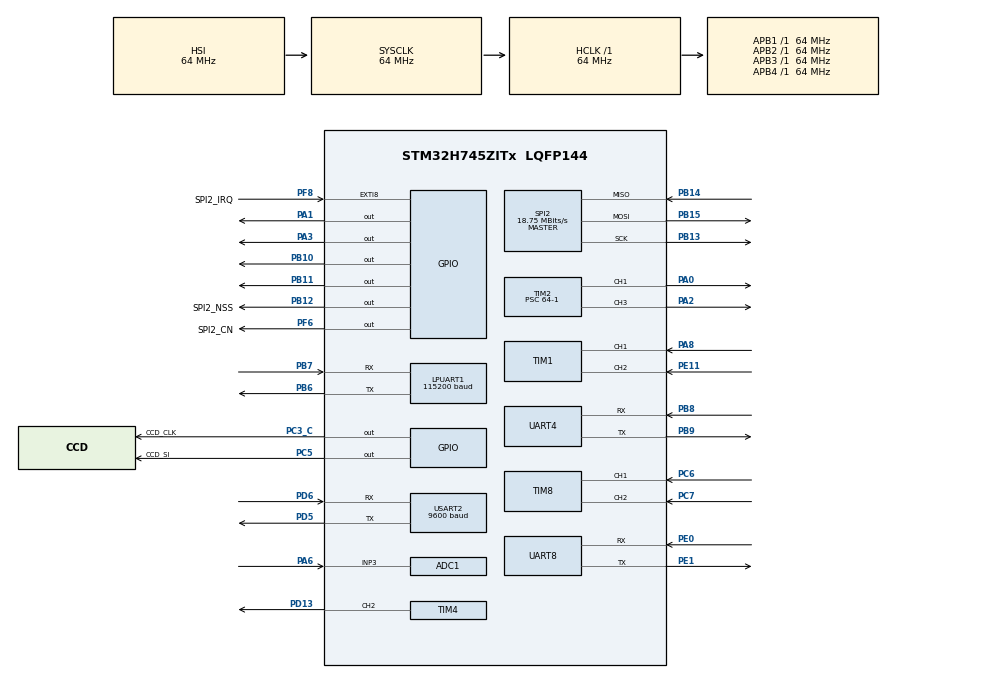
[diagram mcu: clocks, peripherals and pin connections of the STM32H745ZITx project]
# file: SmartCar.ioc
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ADC1.Channel-0\#ChannelRegularConversion=ADC_CHANNEL_3
ADC1.ClockPrescaler=ADC_CLOCK_ASYNC_DIV2
ADC1.ContinuousConvMode=ENABLE
ADC1.NbrOfConversion=1
ADC1.NbrOfConversionFlag=1
ADC1.OffsetNumber-0\#ChannelRegularConversion=ADC_OFFSET_NONE
ADC1.OffsetSignedSaturation-0\#ChannelRegularConversion=DISABLE
ADC1.Overrun=ADC_OVR_DATA_OVERWRITTEN
ADC1.Rank-0\#ChannelRegularConversion=1
ADC1.Resolution=ADC_RESOLUTION_12B
ADC1.SamplingTime-0\#ChannelRegularConversion=ADC_SAMPLETIME_8CYCLES_5
ADC1.master=1
CORTEX_M7.CPU_DCache=Enabled
CORTEX_M7.CPU_ICache=Enabled
CORTEX_M7.DisableExec-Cortex_Memory_Protection_Unit_Region0_Settings=MPU_INSTRUCTION_ACCESS_DISABLE
CORTEX_M7.Enable-Cortex_Memory_Protection_Unit_Region0_Settings=MPU_REGION_ENABLE
CORTEX_M7.IsShareable-Cortex_Memory_Protection_Unit_Region0_Settings=MPU_ACCESS_SHAREABLE
CORTEX_M7.MPU_Control=MPU_PRIVILEGED_DEFAULT
CORTEX_M7.Size-Cortex_Memory_Protection_Unit_Region0_Settings=MPU_REGION_SIZE_4GB
CORTEX_M7.SubRegionDisable-Cortex_Memory_Protection_Unit_Region0_Settings=0x87
CortexM4.IPs=BDMA,CORTEX_M4\:I,DEBUG,DMA,FATFS_M4\:I,FREERTOS_M4\:I,GPIO,IWDG2\:I,MDMA,NVIC2\:I,OPENAMP_M4\:I,PDM2PCM_M4\:I,PWR,RCC,RESMGR_UTILITY,SYS_M4\:I,USB_DEVICE_M4\:I,USB_HOST_M4\:I,VREFBUF,WWDG2\:I
CortexM7.IPs=BDMA\:I,CORTEX_M7\:I,DEBUG\:I,DMA\:I,FATFS_M7\:I,FREERTOS_M7\:I,GPIO\:I,IWDG1\:I,MDMA\:I,NVIC1\:I,OPENAMP_M7\:I,PDM2PCM_M7\:I,PWR\:I,RCC\:I,RESMGR_UTILITY\:I,SYS\:I,USB_DEVICE_M7\:I,USB_HOST_M7\:I,VREFBUF\:I,WWDG1\:I,TIM2\:I,TIM1\:I,USART2\:I,ADC1\:I,TIM3\:I,TIM4\:I,TIM8\:I,TIM5\:I,LPUART1\:I,SPI2\:I,UART4\:I,UART8\:I
CortexM7.Pins=PF6,PF8,PC3_C,PA1,PA3,PC5,PB10,PB11,PB12
LPUART1.BaudRate=115200
Mcu.Family=STM32H7
Mcu.Name=STM32H745ZITx
Mcu.Package=LQFP144
NVIC1.EXTI9_5_IRQn=true\:0\:0\:false\:false\:true\:true\:true\:true
NVIC1.LPUART1_IRQn=true\:0\:0\:false\:false\:true\:true\:true\:true
NVIC1.PriorityGroup=NVIC_PRIORITYGROUP_4
NVIC1.TIM5_IRQn=true\:0\:0\:false\:false\:true\:true\:true\:true
NVIC1.UART4_IRQn=true\:0\:0\:false\:false\:true\:true\:true\:true
NVIC1.USART2_IRQn=true\:0\:0\:false\:false\:true\:true\:true\:true
NVIC2.PriorityGroup=NVIC_PRIORITYGROUP_4
PA0.PinAttribute=CortexM7
PA0.Signal=S_TIM2_CH1_ETR
PA1.GPIO_ModeDefaultOutputPP=GPIO_MODE_OUTPUT_PP
PA1.GPIO_Speed=GPIO_SPEED_FREQ_LOW
PA1.PinAttribute=CortexM7
PA1.PinState=GPIO_PIN_RESET
PA1.Signal=GPIO_Output
PA2.PinAttribute=CortexM7
PA2.Signal=S_TIM2_CH3
PA3.GPIO_ModeDefaultOutputPP=GPIO_MODE_OUTPUT_PP
PA3.GPIO_Speed=GPIO_SPEED_FREQ_LOW
PA3.PinAttribute=CortexM7
PA3.PinState=GPIO_PIN_RESET
PA3.Signal=GPIO_Output
PA6.GPIO_PuPd=GPIO_NOPULL
PA6.PinAttribute=CortexM7
PA6.Signal=ADCx_INP3
PA8.GPIO_Speed=GPIO_SPEED_FREQ_HIGH
PA8.PinAttribute=CortexM7
PA8.Signal=S_TIM1_CH1
PB10.GPIO_Speed=GPIO_SPEED_FREQ_HIGH
PB10.PinAttribute=CortexM7
PB10.PinState=GPIO_PIN_SET
PB10.Signal=GPIO_Output
PB11.GPIO_Speed=GPIO_SPEED_FREQ_HIGH
PB11.PinAttribute=CortexM7
PB11.PinState=GPIO_PIN_SET
PB11.Signal=GPIO_Output
PB12.GPIO_Label=SPI2_NSS
PB12.GPIO_ModeDefaultOutputPP=GPIO_MODE_OUTPUT_PP
PB12.GPIO_PuPd=GPIO_PULLUP
PB12.GPIO_Speed=GPIO_SPEED_FREQ_HIGH
PB12.PinAttribute=CortexM7
PB12.PinState=GPIO_PIN_SET
PB12.Signal=GPIO_Output
PB13.Mode=Full_Duplex_Master
PB13.PinAttribute=CortexM7
PB13.Signal=SPI2_SCK
PB14.Mode=Full_Duplex_Master
PB14.PinAttribute=CortexM7
PB14.Signal=SPI2_MISO
PB15.Mode=Full_Duplex_Master
PB15.PinAttribute=CortexM7
PB15.Signal=SPI2_MOSI
PB6.Mode=Asynchronous
PB6.PinAttribute=CortexM7
PB6.Signal=LPUART1_TX
PB7.Mode=Asynchronous
PB7.PinAttribute=CortexM7
PB7.Signal=LPUART1_RX
PB8.Mode=Asynchronous
PB8.PinAttribute=CortexM7
PB8.Signal=UART4_RX
PB9.Mode=Asynchronous
PB9.PinAttribute=CortexM7
PB9.Signal=UART4_TX
PC3_C.GPIO_Label=CCD_CLK
PC3_C.GPIO_ModeDefaultOutputPP=GPIO_MODE_OUTPUT_PP
PC3_C.GPIO_PuPd=GPIO_PULLUP
PC3_C.GPIO_Speed=GPIO_SPEED_FREQ_LOW
PC3_C.PinAttribute=CortexM7
PC3_C.PinState=GPIO_PIN_RESET
PC3_C.Signal=GPIO_Output
PC5.GPIO_Label=CCD_SI
PC5.GPIO_PuPd=GPIO_PULLUP
PC5.GPIO_Speed=GPIO_SPEED_FREQ_LOW
PC5.PinAttribute=CortexM7
PC5.PinState=GPIO_PIN_RESET
PC5.Signal=GPIO_Output
PC6.PinAttribute=CortexM7
PC6.Signal=S_TIM8_CH1
PC7.PinAttribute=CortexM7
PC7.Signal=S_TIM8_CH2
PD13.PinAttribute=CortexM7
PD13.Signal=S_TIM4_CH2
PD5.Mode=Asynchronous
PD5.PinAttribute=CortexM7
PD5.Signal=USART2_TX
PD6.Mode=Asynchronous
PD6.PinAttribute=CortexM7
PD6.Signal=USART2_RX
PE0.Mode=Asynchronous
PE0.PinAttribute=CortexM7
PE0.Signal=UART8_RX
PE1.Mode=Asynchronous
PE1.PinAttribute=CortexM7
PE1.Signal=UART8_TX
PE11.GPIO_Speed=GPIO_SPEED_FREQ_HIGH
PE11.PinAttribute=CortexM7
PE11.Signal=S_TIM1_CH2
PF6.GPIO_Label=SPI2_CN
PF6.GPIO_ModeDefaultOutputPP=GPIO_MODE_OUTPUT_PP
PF6.GPIO_PuPd=GPIO_PULLUP
PF6.GPIO_Speed=GPIO_SPEED_FREQ_HIGH
PF6.PinAttribute=CortexM7
PF6.PinState=GPIO_PIN_SET
PF6.Signal=GPIO_Output
PF8.GPIO_Label=SPI2_IRQ
PF8.GPIO_ModeDefaultEXTI=GPIO_MODE_IT_FALLING
PF8.GPIO_PuPd=GPIO_PULLUP
PF8.PinAttribute=CortexM7
PF8.Signal=GPXTI8
ProjectManager.HeapSize=M4-0x200,M7-0x200
ProjectManager.StackSize=M4-0x400,M7-0x400
ProjectManager.TargetToolchain=STM32CubeIDE
RCC.ADCFreq_Value=13333333.333333334
RCC.APB1Freq_Value=64000000
RCC.APB2Freq_Value=64000000
RCC.APB3Freq_Value=64000000
RCC.APB4Freq_Value=64000000
RCC.CSICalibrationValue=32
RCC.CortexFreq_Value=64000000
RCC.DIVM1=4
RCC.DIVM2=4
RCC.DIVN1=9
RCC.DIVN2=10
RCC.DIVP2=12
RCC.DIVQ1=1
RCC.HCLKFreq_Value=64000000
RCC.HSE_VALUE=25000000
RCC.HSICalibrationValue=64
RCC.PLL2FRACN=0
RCC.PLL3FRACN=0
RCC.PLL3_VCI_Range-AdvancedSettings=RCC_PLL3VCIRANGE_0
RCC.PLLFRACN=3072
RCC.PWR_Regulator_Voltage_Scale=PWR_REGULATOR_VOLTAGE_SCALE1
RCC.SYSCLKFreq_VALUE=64000000
RCC.USBFreq_Value=150000000
SH.ADCx_INP3.0=ADC1_INP3,IN3-Single-Ended
SH.S_TIM1_CH1.0=TIM1_CH1,Encoder_Interface
SH.S_TIM1_CH2.0=TIM1_CH2,Encoder_Interface
SH.S_TIM2_CH1_ETR.0=TIM2_CH1,PWM Generation1 CH1
SH.S_TIM2_CH3.0=TIM2_CH3,PWM Generation3 CH3
SH.S_TIM4_CH2.0=TIM4_CH2,PWM Generation2 CH2
SH.S_TIM8_CH1.0=TIM8_CH1,Encoder_Interface
SH.S_TIM8_CH2.0=TIM8_CH2,Encoder_Interface
SPI2.BaudRatePrescaler=SPI_BAUDRATEPRESCALER_8
SPI2.CRCCalculation=SPI_CRCCALCULATION_ENABLE
SPI2.CalculateBaudRate=18.75 MBits/s
SPI2.DataSize=SPI_DATASIZE_8BIT
SPI2.Direction=SPI_DIRECTION_2LINES
SPI2.Mode=SPI_MODE_MASTER
SPI2.VirtualType=VM_MASTER
SYS.userName=SYS_M7
TIM1.ClockDivision=TIM_CLOCKDIVISION_DIV1
TIM1.EncoderMode=TIM_ENCODERMODE_TI12
TIM1.IC1Filter=15
TIM1.IC2Filter=15
TIM2.AutoReloadPreload=TIM_AUTORELOAD_PRELOAD_ENABLE
TIM2.Channel-PWM\ Generation1\ CH1=TIM_CHANNEL_1
TIM2.Channel-PWM\ Generation3\ CH3=TIM_CHANNEL_3
TIM2.OC1Preload_PWM=DISABLE
TIM2.OC3Preload_PWM=DISABLE
TIM2.Period=10000-1
TIM2.Prescaler=64-1
TIM2.Pulse-PWM\ Generation1\ CH1=750
TIM2.Pulse-PWM\ Generation3\ CH3=750
TIM4.Channel-PWM\ Generation2\ CH2=TIM_CHANNEL_2
TIM4.Period=10000-1
TIM4.Prescaler=128-1
TIM4.Pulse-PWM\ Generation2\ CH2=750
TIM5.Period=500-1
TIM5.Prescaler=128-1
TIM8.EncoderMode=TIM_ENCODERMODE_TI12
TIM8.IC1Filter=15
TIM8.IC2Filter=15
USART2.BaudRate=9600
USART2.VirtualMode-Asynchronous=VM_ASYNC
VP_SYS_M4_VS_Systick.Mode=SysTick
VP_TIM2_VS_ClockSourceINT.Mode=Internal
VP_TIM4_VS_ClockSourceINT.Mode=Internal
VP_TIM5_VS_ClockSourceINT.Mode=Internal
board=custom

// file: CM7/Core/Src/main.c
/* USER CODE BEGIN Header */
/**
  ******************************************************************************
  * @file           : main.c
  * @brief          : Main program body
  ******************************************************************************
  * @attention
  *
  * Copyright (c) 2025 STMicroelectronics.
  * All rights reserved.
  *
  * This software is licensed under terms that can be found in the LICENSE file
  * in the root directory of this software component.
  * If no LICENSE file comes with this software, it is provided AS-IS.
  *
  ******************************************************************************
  */
/* USER CODE END Header */
#include "main.h"
#include "adc.h"
#include "usart.h"
#include "spi.h"
#include "tim.h"
#include "gpio.h"

/* USER CODE BEGIN Includes */
#include "DC.h"
#include "Velocity_PID.h"
#include "Angle_PID.h"
#include "dwt_delay.h"
#include "string.h"
#include "stdio.h"
#include "stdlib.h"
//#include "CCD.h"
/* USER CODE END Includes */

/* USER CODE BEGIN PD */

#ifndef HSEM_ID_0
#define HSEM_ID_0 (0U) /* HW semaphore 0*/
#endif

/* USER CODE END PD */

/* USER CODE BEGIN PM */
#define MAX_LEN 20
/* USER CODE END PM */

/* USER CODE BEGIN PV */
enum Place {start,pharmacy,ward,cross1,cross2};
enum Place place = pharmacy;
int ActionLog[20] = {}; // 0代表前进, 1代表左转, -1代表右转
int ActionLogTop = -1;
uint8_t actionLock = 0;
float v_BL;//左后轮�?�度 cm/s
float v_BR;//右后轮�?�度 cm/s
float v_C;//车整体�?�度 cm/s
float TotalDistance;//小车从某时刻�?????????????????????????????始的总距�????????????????????????????? cm
uint16_t T_velocity=20;//测�?�周�?????????????????????????????(PID调控周期)，单位：ms
uint16_t T_location=100;
uint8_t distance_flag=0;//�?????????????????????????????始累积距离标�?????????????????????????????
uint8_t MoveFlag=0;
uint8_t toWard = 1;
uint8_t cross_detected = 0;
uint8_t block_detected = 0;
uint8_t medicine_detected = 0;
uint16_t regularVelocity = 20;
uint32_t toBlockTime = 4000000;
uint32_t toCrossTime = 6000000;
char target = ' ';
char Dir='n';//方向
char Pos='S';//位置
char action[20] = "stop";
char digitDetected[20]= "";
extern Angle_PID_Struct Angle_PID;//转向pid结构�?????????????????????
extern BL_Velocity_PID_Struct BL_Velocity_PID;
extern BR_Velocity_PID_Struct BR_Velocity_PID;

//电机测试
uint8_t VelocityMeasureFlag=0;
//计时�?????????????????????????
uint32_t Cnt_1ms=0;

//串口�???????????????????????
//Touch Pannel communication define
uint8_t StartSTR[3]={0xff,0xff,0xff};
uint8_t EndSTR[3]={0xff,0xff,0xff};
uint8_t HeaderTxBuffer1[] = "cls BLACK";   //清屏命令
uint8_t HeaderTxBuffer2[] = "page cube_aigc";  //跳转页面命令
uint8_t HeaderTxBuffer3[] = "n0.val=";         //变量赋�?�命�???????????????????????
uint8_t HeaderTxBuffer4[20];  //white line
uint8_t HeaderTxBuffer5[] = "add 1,2,";     //real time data
uint8_t HeaderTxBuffer6[20];   //red line
uint8_t HeaderTxBuffer7[20];    //green line

/* Buffer used for data reception */
//uint8_t aRxBuffer[16]="";
uint8_t RxBuffer[16];
uint8_t Touch_pannel_Uart2_RxBuffer[MAX_LEN];
uint8_t Touch_pannel_receive_len = 0;
uint8_t Touch_pannel_receive_completed = 0;
uint8_t Touch_pannel_receive = 0;
uint8_t Touch_pannel_data_receive_start = 0;
uint8_t RxBuffer1[16];

//距离变量
uint8_t distance1=85;//OA
uint8_t distance2=35;//A1
uint8_t distance3=60;//AB
uint8_t distance4=30;//BC
uint8_t distance5=60;//CD
uint8_t distance6=30;//DE
uint8_t distance7=60;//EF
uint8_t distance8=30;//FG
uint8_t distance9=35;//8I

//药物�???????????????????????�???????????????????????
uint8_t Medicine_Flag=0;//药物装下1,药物卸下2

//车索�???????????????????????(1 / 2)
uint8_t car_index=1;

//车返回标�???????????????????????
uint8_t ReturnFlag=0;

uint16_t freq=10;//无线通信频率

//调试阶段
char TestStage;

uint32_t v_cnt=0;//测�?�计数器
float v_BL_Avg;//左轮平均速度
float v_BR_Avg;//右轮平均速度

/*串口测试*/

//速度pid测试
//TestStage='V';
uint8_t Velocity_PID_UpdateFlag=0;
char VelocityStr[20]={};
uint8_t DCStopFlag=0;
uint8_t TurnFlag=0;
uint32_t TurnCnt=0;
uint32_t WaitCnt = 0;
uint32_t TurnPeriod=0;
uint32_t WaitPeriod = 10;
uint8_t TurnStopFlag=0;
uint8_t StopFlag = 0;
uint8_t WaitFlag = 0; // 给与�????定数字识别时�????
uint8_t OpenFlag = 0; // 给与�????定开环往前走
uint8_t OpenDis = 10;
uint8_t LoopStart = 0; // 是否是一次新的开环走+旋转
//uint32_t TurnNinetyPeriod=650;
//uint32_t TurnBackPeriod=1100;

drive_mode currentDriveMode = REARDRIVEMODE;

uint8_t DistanceFlag=0;
float TargetDistance=0;
uint8_t StraightStopFlag=0;

char NrfTxBuf[32] = {0}; //无线发�?�数据缓冲区
char NrfRxBuf[32]={0};                 //无线接收数据缓冲�????????????????????
uint8_t NrfRxFlag=0; //无线接收中断
uint8_t ReceiveHelloFlag=0;

uint8_t PiRxStrBuf[128];
uint8_t PiRxCharIdx=0;//接收字符位置索引
uint8_t PiRxChar;//接收的字�???????????????????????
uint8_t PiRxStrFlag;//接收字符串标�???????????????????????

//串口�????????????
uint8_t Velocity_Plot_Indicate=0;

float actual_Delay=0;
int8_t actions[3];
int8_t action_index = -1;

uint8_t lock=0;

/*以下是激光打靶小车新增变�??*/
//CCD读取�??128像素数组
uint16_t ADV[128]={0};//CCD采集像素数组
uint16_t filtered_ADV[128];//滤波后的像素数组
int16_t DxMax=0;
int16_t DxMin=0;//�??�??/�??小像素差分�??
int16_t dX[188];//像素差分数组
uint16_t MaxIdx=0;//�??大像素跳变点索引
uint16_t MinIdx=0;//�??小像素跳变点索引
uint16_t TargetIdx;//像素跳变点索引，目标中心点索�??
uint8_t median_filter=1;
uint8_t CCD_UpdateFlag=0; //CCD更新标志
uint8_t CCD_Angle_Period=100;//CCD调控周期（20ms）
uint8_t CCD_Angle_Cnt=0;//CCD调控计时器
/* USER CODE END PV */

void SystemClock_Config(void);
static void MPU_Config(void);
/* USER CODE BEGIN PFP */
void MoveTrack1(void);//运动轨迹1：A-O-B
void MoveTrack2(void);//运动轨迹2：A-O-C
uint8_t OpenForward();
uint8_t OpenTurn(uint8_t, uint8_t);
void openLoopTurning(int8_t clockwise,uint16_t angle);
void openLoopForward(uint8_t forwardVelocity, uint32_t forwardDistance);
void Enable_CrossDetected(void);
void Enable_BlockDetected(void);
void Require_Numbers(uint8_t num);
void Dly(void);
void CCD_Read(void) ;
void Linear_CCD_Flush(void);
void CCD_DataProcess(void);

/* USER CODE END PFP */

/* USER CODE BEGIN 0 */
// 无线模块接收回调函数
void myRxCallback(char* data) {
	strncpy(NrfRxBuf, data, 32);//拷贝字符串到接收数据缓冲�????????????????????
    NrfRxFlag=1;//接受到字符串标志�????????????????????1
}
/* USER CODE END 0 */

int main(void)
{
/* USER CODE BEGIN Boot_Mode_Sequence_0 */
  int32_t timeout;
/* USER CODE END Boot_Mode_Sequence_0 */

  /* MPU Configuration--------------------------------------------------------*/
  MPU_Config();
/* Enable the CPU Cache */

  /* Enable I-Cache---------------------------------------------------------*/
  SCB_EnableICache();

  /* Enable D-Cache---------------------------------------------------------*/
  SCB_EnableDCache();

/* USER CODE BEGIN Boot_Mode_Sequence_1 */
  /* Wait until CPU2 boots and enters in stop mode or timeout*/
  timeout = 0xFFFF;
  while((__HAL_RCC_GET_FLAG(RCC_FLAG_D2CKRDY) != RESET) && (timeout-- > 0));
  if ( timeout < 0 )
  {
  Error_Handler();
  }
/* USER CODE END Boot_Mode_Sequence_1 */
  /* MCU Configuration--------------------------------------------------------*/

  /* Reset of all peripherals, Initializes the Flash interface and the Systick. */
  HAL_Init();

  /* Configure the system clock */
  SystemClock_Config();
/* USER CODE BEGIN Boot_Mode_Sequence_2 */
/* When system initialization is finished, Cortex-M7 will release Cortex-M4 by means of
HSEM notification */
/*HW semaphore Clock enable*/
__HAL_RCC_HSEM_CLK_ENABLE();
/*Take HSEM */
HAL_HSEM_FastTake(HSEM_ID_0);
/*Release HSEM in order to notify the CPU2(CM4)*/
HAL_HSEM_Release(HSEM_ID_0,0);
/* wait until CPU2 wakes up from stop mode */
timeout = 0xFFFF;
while((__HAL_RCC_GET_FLAG(RCC_FLAG_D2CKRDY) == RESET) && (timeout-- > 0));
if ( timeout < 0 )
{
Error_Handler();
}
/* USER CODE END Boot_Mode_Sequence_2 */

  /* Initialize all configured peripherals */
  MX_GPIO_Init();
  MX_TIM2_Init();
  MX_TIM1_Init();
  MX_TIM4_Init();
  MX_ADC1_Init();
  MX_TIM8_Init();
  MX_TIM5_Init();
  MX_LPUART1_UART_Init();
  MX_USART2_UART_Init();
  MX_SPI2_Init();
  MX_UART4_Init();
  MX_UART8_Init();
  /* USER CODE BEGIN 2 */
  DC_Init();//编码电机初始�????????????
  Velocity_PID_Init();//速度pid初始�????????????
  Angle_PID_Init();
  DWT_Init();//延时单元初始�????????????

  //串口屏串口初始化
//  void MX_USART2_UART_Init()  //Touch Pannel interface init
//  {
//
//    huart2.Instance             = USART2;
//    huart2.Init.BaudRate        = 9600;
//    huart2.Init.WordLength      = UART_WORDLENGTH_8B;
//    huart2.Init.StopBits        = UART_STOPBITS_1;
//    huart2.Init.Parity          = UART_PARITY_NONE;
//    huart2.Init.HwFlowCtl       = UART_HWCONTROL_NONE;
//    huart2.Init.Mode            = UART_MODE_TX_RX;
//    huart2.Init.ClockPrescaler  = UART_PRESCALER_DIV1;
//    huart2.Init.OneBitSampling  = UART_ONE_BIT_SAMPLE_DISABLE;
//    huart2.Init.OverSampling    = UART_OVERSAMPLING_16;
//    if(HAL_UART_Init(&huart2) != HAL_OK)
//    {
//      Error_Handler();
//    }
//    /* Set the RXFIFO threshold */
//    HAL_UARTEx_SetRxFifoThreshold(&huart2, UART_RXFIFO_THRESHOLD_1_4);
//    /* Enable the FIFO mode */
//    HAL_UARTEx_EnableFifoMode(&huart2);
//    /* Output message to Touch Pannel on hyperterminal */
//  /*
//    //cls BLACK
//    HAL_UART_Transmit(&huart2,StartSTR,3,10);
//    HAL_UART_Transmit(&huart2, (uint8_t*)&HeaderTxBuffer1, countof(HeaderTxBuffer1)-1, HAL_TIMEOUT_VALUE);
//    HAL_UART_Transmit(&huart2,EndSTR,3,10);
//
//    //transfer to page 2
//    HAL_UART_Transmit(&huart2,StartSTR,3,10);
//    HAL_UART_Transmit(&huart2, (uint8_t*)&HeaderTxBuffer2, countof(HeaderTxBuffer2)-1, HAL_TIMEOUT_VALUE);
//    HAL_UART_Transmit(&huart2,EndSTR,3,10);
//  */
//    /* Enable the UART RX FIFO threshold interrupt */
//    __HAL_UART_ENABLE_IT(&huart2, UART_IT_RXFT);
//    /* Put UART peripheral in reception process */
//    //HAL_UART_Receive_IT(&huart2, (uint8_t*)&RxBuffer, 1);
//
//  }

//串口测试
  HAL_UART_Receive_IT(&huart4,&PiRxChar,1);//使能接收中断
  HAL_UART_Transmit(&huart4,(const uint8_t *)"hi1\r\n",strlen("hi1\r\n"),HAL_MAX_DELAY);
  uint8_t lock=0;
  uint8_t Movelock=0;
  //TestStage='s';//送药小车

  //使能串口2中断
  HAL_UART_Receive_IT(&huart2, (uint8_t*)&RxBuffer, 1);

  /* USER CODE END 2 */

  /* Infinite loop */
  while (1)
  {

    /* USER CODE BEGIN 3 */

	/*地图(数字1~8代表病房位置�???????????????????????0是药房，字母代表交叉处，（字母）表示数字识别�???????????????????????)
	 *   l                         r
	 *   |            C            |
	 * D |   - - - - - - - - - -   | E
	 *   |           |             |
	 *   l           |             r
	 *               |
	 *               | B
     *     m - - - - - - - - - m
	 *               |
	 *               |
	 *               |
	 *               |
	 *     1 - - - - - - - - - 2
	 *               |A
	 *               |
	 *               |
	 *               |
	 *               0
	 *
	 * */
		//基础部分运动逻辑状�?�转换机
	  /*
	  if(TestStage=='s')//送药小车
	  {
		switch(Pos)
		{
		  case 'S':
			  if (target != ' ')
				  Pos = '0';
			  break;
		  //药房
		  case '0':
			  if(Dir=='n')//药房出发
			  {
				  if(medicine_detected==1)//�????测到药物被装�????
				  {
					  DC_Start(0);
					  medicine_detected=0;//清除药物�????测标�????
					  Enable_CrossDetected();//等待十字路口�????�????
				  }
				  if(cross_detected==1)
				  {
					  Pos = 'A';
				      cross_detected=0;
				  }
			  }
			  else if(Dir=='s')//返回药房
			  {
				 if(MoveFlag)
					 openLoopForward(regularVelocity,toBlockTime);
				 if(!MoveFlag)
				 {
					  Dir='n';
					  Pos = 'S';
					  target = ' ';
					  action_index=-1;
					  PiRxStrBuf[0]='\0';
					  medicine_detected = 0;
					  cross_detected= 0;
					  toWard = 1;
					  HAL_UART_Transmit(&huart4,(const uint8_t *)"Green Light On",strlen("Green Light On"),HAL_MAX_DELAY);//点亮绿灯
				 }

			  }
			  break;
		  case '1':
			  if(Dir == 'w')
			  {
			     if(MoveFlag)
			    	 openLoopForward(regularVelocity,toBlockTime);
			     if(!MoveFlag && medicine_detected==2)
			     {
			    	 HAL_UART_Transmit(&huart4,(const uint8_t *)"Red Light Off",strlen("Red Light Off"),HAL_MAX_DELAY);//熄灭红灯
			    	 openLoopTurning(1,180);
			    	 toWard = 0;
			    	 medicine_detected=0;//清除药物�????测标�????
			    	 Dir = 'e';
			     }
			  }
			  else if (Dir == 'e')
			  {
				  if(!MoveFlag)
				  {
					  DC_Start(0);
					  Enable_CrossDetected();
				  }
				  if (cross_detected)
				  {
					  Pos = 'A';
				  }
			  }
			  break;
		  case '2':
			  if(Dir == 'e')
			  {
			     if(MoveFlag)
			    	 openLoopForward(regularVelocity,toBlockTime);
			     if(!MoveFlag && medicine_detected==2)
			     {
			    	 HAL_UART_Transmit(&huart4,(const uint8_t *)"Red Light Off",strlen("Red Light Off"),HAL_MAX_DELAY);//熄灭红灯
			    	 openLoopTurning(1,180);
			    	 medicine_detected=0;//清除药物�????测标�????
			    	 toWard = 0;
			    	 Dir = 'w';
			     }
			  }
			  else if (Dir == 'w')
			  {
				  if(!MoveFlag)
				  {
					  DC_Start(0);
					  Enable_CrossDetected();
				  }
				  if (cross_detected)
				  {
					  Pos = 'A';
				  }
			  }
			break;
		  case 'A':
			  if(Dir == 'n')
			  {
				  if (target != '1' &&  target != '2')
				  {
//					  if (action_index != -1)
					  if(!lock)
					  {
						  openLoopForward(regularVelocity,toCrossTime);
						  DC_Start(0);
						  lock=1;
						  Enable_CrossDetected();//等待十字路口�????�????
					  }

					  if(cross_detected)//�????测到十字路口
					  {
						  actions[++action_index] = 0;
						  Pos = 'B';
						  lock=0;
						  cross_detected=0;
					  }
				  }
				  else if(target =='1')
				  {
				      openLoopForward(regularVelocity,toCrossTime);

					  if(!MoveFlag)
					  {
						  openLoopTurning(-1,90);
						  Dir = 'w';
					  }
				  }
			      else if(target == '2')
			      {
				      openLoopForward(regularVelocity,toCrossTime);

					  if(!MoveFlag)
					  {
						  openLoopTurning(1,90);
						  Dir = 'e';
					  }
				  }
			  }
			  else if(Dir == 'w')
			  {
				  if(toWard)
				  {
					  if(!MoveFlag)
					  {
					    DC_Start(0);
					    Enable_BlockDetected();
					  }
					  if(block_detected)
					  {
						  Pos = '1';
						  block_detected=0;
					  }
				  }
				  else
				  {

				      openLoopForward(regularVelocity,toCrossTime);

					  if(!MoveFlag)
					  {
						  openLoopTurning(-1,90);
						  Dir = 's';
					  }
				  }
			  }
			  else if(Dir == 'e')
			  {
				  if(toWard)
				  {

					  if(!MoveFlag)
					  {
						DC_Start(0);
						Enable_BlockDetected();
					  }
					  if(block_detected)
					  {
						  Pos = '2';
						  block_detected=0;
					  }
				  }
				  else
				  {

					  openLoopForward(regularVelocity,toCrossTime);

					  if(!MoveFlag)
					  {
						  openLoopTurning(1,90);
						  Dir = 's';
					  }
				  }
			  }
			  else if(Dir == 's')
			  {
				  if(!MoveFlag)
				  {
					DC_Start(0);
					Enable_BlockDetected();
				  }
				  if(block_detected)
				  {
					  Pos = '0';
					  block_detected=0;
					  action_index--;
				  }
			  }
			  break;
		  case 'm':
			  if (actions[action_index] == -1)
			  {
				  if(Dir == 'w')
				  {
				     if(MoveFlag)
				    	 openLoopForward(regularVelocity,toBlockTime);
				     if(!MoveFlag && medicine_detected==2)
				     {
				    	 HAL_UART_Transmit(&huart4,(const uint8_t *)"Red Light Off",strlen("Red Light Off"),HAL_MAX_DELAY);//熄灭红灯
				    	 openLoopTurning(1,180);
				    	 medicine_detected=0;//清除药物�????测标�????
				    	 toWard = 0;
				    	 Dir = 'e';
				     }
				  }
				  else if (Dir == 'e')
				  {
					  if(!MoveFlag)
					  {
						  DC_Start(0);
						  Enable_CrossDetected();
					  }
					  if (cross_detected)
					  {
						  Pos = 'B';
					  }
				  }
			  }
			  else if (actions[action_index] == 1)
			  {
				  if(Dir == 'e')
				  {
				     if(MoveFlag)
				    	 openLoopForward(regularVelocity,toBlockTime);
				     if(!MoveFlag && medicine_detected==2)
				     {
				    	 HAL_UART_Transmit(&huart4,(const uint8_t *)"Red Light Off",strlen("Red Light Off"),HAL_MAX_DELAY);//熄灭红灯
				    	 openLoopTurning(1,180);
				    	 medicine_detected=0;//清除药物�????测标�????
				    	 toWard = 0;
				    	 Dir = 'w';
				     }
				  }
				  else if (Dir == 'w')
				  {
					  if(!MoveFlag)
					  {
						  DC_Start(0);
						  Enable_CrossDetected();
					  }
					  if (cross_detected)
					  {
						  Pos = 'B';
					  }
				  }
			  }
			  break;
		  case 'B':
			  if(Dir == 'n')
			  {
				  if (strlen(digitDetected) < 2)
				  {
					  DC_Stop();
					  Require_Numbers(2);
				  }
				  else if (target != digitDetected[0] &&  target != digitDetected[1])
				  {

					  if(!lock)
					  {
						openLoopForward(regularVelocity,toCrossTime);
						DC_Start(0);
						Enable_CrossDetected();
						lock=1;
					  }

					  if(cross_detected)
					  {
						  actions[++action_index] = 0;
						  Pos = 'C';
						  lock=0;
						  cross_detected=0;
					  }
				  }
				  else if(target == digitDetected[0])
				  {
				      openLoopForward(regularVelocity,toCrossTime);

					  if(!MoveFlag)
					  {
						  openLoopTurning(-1,90);
						  Dir = 'w';
					  }
					  actions[++action_index] = -1;
				  }
				  else if(target == digitDetected[1])
				  {
				      openLoopForward(regularVelocity,toCrossTime);

					  if(!MoveFlag)
					  {
						  openLoopTurning(1,90);
						  Dir = 'e';
					  }
					  actions[++action_index] = 1;
				  }
			  }
			  else if(Dir == 'w')
			  {
				  if(toWard)
				  {
					  if(!MoveFlag)
					  {
					    DC_Start(0);
					    Enable_BlockDetected();
					  }
					  if(block_detected)
					  {
						  Pos = 'm';
						  block_detected=0;
					  }
				  }
				  else
				  {
				      openLoopForward(regularVelocity,toCrossTime);

					  if(!MoveFlag)
					  {
						  openLoopTurning(-1,90);
						  Dir = 's';
					  }
				  }
			  }
			  else if(Dir == 'e')
			  {
				  if(toWard)
				  {
					  if(!MoveFlag)
					  {
					    DC_Start(0);
					    Enable_BlockDetected();
					  }
					  if(block_detected)
					  {
						  Pos = 'm';
						  block_detected=0;
					  }
				  }
				  else
				  {
				      openLoopForward(regularVelocity,toCrossTime);

					  if(!MoveFlag)
					  {
						  openLoopTurning(1,90);
						  Dir = 's';
					  }
				  }
			  }
			  else if(Dir == 's')
			  {
				  if(!MoveFlag)
				  {
					DC_Start(0);
					Enable_BlockDetected();
				  }
				  if(block_detected)
				  {
					  Pos = '0';
					  block_detected=0;
				  }

			  }
			  break;
		  case 'C':
			  if(Dir == 'n')
			  {
				  if (strlen(digitDetected) < 4)
				  {
					  DC_Stop();
					  Require_Numbers(4);
				  }

				  else if(target == digitDetected[0] || target == digitDetected[1])
				  {
				      openLoopForward(regularVelocity,toCrossTime);

					  if(!MoveFlag)
					  {
						  openLoopTurning(-1,90);
						  Dir = 'w';
					  }
					  actions[++action_index] = -1;
				  }
				  else if(target == digitDetected[2] || target==digitDetected[3])
				  {
				      openLoopForward(regularVelocity,toCrossTime);

					  if(!MoveFlag)
					  {
						  openLoopTurning(1,90);
						  Dir = 'e';
					  }
					  actions[++action_index] = 1;
				  }
			  }
			  else if(Dir == 'w')
			  {
				  if(toWard)
				  {
					  if(!MoveFlag)
					  {
					    DC_Start(0);
					    Enable_CrossDetected();
					  }
					  if(cross_detected)
					  {
						  Pos = 'D';
						  digitDetected[0] = '\0';
						  cross_detected=0;
					  }
				  }
				  else
				  {
				      openLoopForward(regularVelocity,toCrossTime);

					  if(!MoveFlag)
					  {
						  openLoopTurning(-1,90);
						  Dir = 's';
					  }
				  }
			  }
			  else if(Dir == 'e')
			  {
				  if(toWard)
				  {
					  if(!MoveFlag)
					  {
					    DC_Start(0);
					    Enable_CrossDetected();
					  }
					  if(cross_detected)
					  {
						  Pos = 'E';
						  digitDetected[0] = '\0';
						  cross_detected=0;
					  }
				  }
				  else
				  {
				      openLoopForward(regularVelocity,toCrossTime);

					  if(!MoveFlag)
					  {
						  openLoopTurning(1,90);
						  Dir = 's';
					  }
				  }
			  }
			  else if(Dir == 's')
			  {
				  if(!MoveFlag)
				  {
					DC_Start(0);
					Enable_BlockDetected();
				  }
				  if(block_detected)
				  {
					  Pos = '0';
					  block_detected=0;
				  }
			  }
			  break;
		  case 'D':
			  if(Dir == 'w')
			  {
				  if (strlen(digitDetected) < 2)
				  {
					  DC_Stop();
					  Require_Numbers(2);
				  }

				  else if(target == digitDetected[0])
				  {
				      openLoopForward(regularVelocity,toCrossTime);

					  if(!MoveFlag)
					  {
						  openLoopTurning(-1,90);
						  Dir = 's';
					  }
					  actions[++action_index] = -1;
				  }
				  else if(target == digitDetected[1])
				  {
				      openLoopForward(regularVelocity,toCrossTime);

					  if(!MoveFlag)
					  {
						  openLoopTurning(1,90);
						  Dir = 'n';
					  }
					  actions[++action_index] = 1;
				  }
			  }
			  else if(Dir == 's')
			  {
				  if(toWard)
				  {
					  if(!MoveFlag)
					  {
					    DC_Start(0);
					    Enable_BlockDetected();
					  }
					  if(block_detected)
					  {
						  Pos = 'l';
						  block_detected=0;
					  }
				  }
				  else
				  {
				      openLoopForward(regularVelocity,toCrossTime);

					  if(!MoveFlag)
					  {
						  openLoopTurning(-1,90);
						  Dir = 'e';
					  }
				  }
			  }
			  else if(Dir == 'n')
			  {
				  if(toWard)
				  {
					  if(!MoveFlag)
					  {
					    DC_Start(0);
					    Enable_BlockDetected();
					  }
					  if(block_detected)
					  {
						  Pos = 'l';
						  block_detected=0;
					  }
				  }
				  else
				  {
				      openLoopForward(regularVelocity,toCrossTime);

					  if(!MoveFlag)
					  {
						  openLoopTurning(1,90);
						  Dir = 'e';
					  }
				  }
			  }
			  else if(Dir == 'e')
			  {
				  if(!MoveFlag)
				  {
					DC_Start(0);
					Enable_CrossDetected();
				  }
				  if(cross_detected)
				  {
					  Pos = 'C';
					  cross_detected=0;
				  }
			  }
			  break;
		  case 'l':
			  if (actions[action_index] == -1)
			  {
				  if(Dir == 's')
				  {
				     if(MoveFlag)
				    	 openLoopForward(regularVelocity,toBlockTime);
				     if(!MoveFlag && medicine_detected==2)
				     {
				    	 HAL_UART_Transmit(&huart4,(const uint8_t *)"Red Light Off",strlen("Red Light Off"),HAL_MAX_DELAY);//熄灭红灯
				    	 openLoopTurning(1,180);
				    	 medicine_detected=0;//清除药物�????测标�????
				    	 toWard = 0;
				    	 Dir = 'n';
				     }
				  }
				  else if (Dir == 'n')
				  {
					  if(!MoveFlag)
					  {
						  DC_Start(0);
						  Enable_CrossDetected();
					  }
					  if (cross_detected)
					  {
						  Pos = 'D';
						  cross_detected = 0;
					  }
				  }
			  }
			  else if (actions[action_index] == 1)
			  {
				  if(Dir == 'n')
				  {
				     if(MoveFlag)
				    	 openLoopForward(regularVelocity,toBlockTime);
				     if(!MoveFlag && medicine_detected==2)
				     {
				    	 HAL_UART_Transmit(&huart4,(const uint8_t *)"Red Light Off",strlen("Red Light Off"),HAL_MAX_DELAY);//熄灭红灯
				    	 openLoopTurning(1,180);
				    	 medicine_detected=0;//清除药物�????测标�????
				    	 toWard = 0;
				    	 Dir = 's';
				     }
				  }
				  else if (Dir == 's')
				  {
					  if(!MoveFlag)
					  {
						  DC_Start(0);
						  Enable_CrossDetected();
					  }
					  if (cross_detected)
					  {
						  Pos = 'D';
						  cross_detected = 0;
					  }
				  }
			  }
			  break;
		  case 'E':
			  if(Dir == 'e')
			  {
				  if (strlen(digitDetected) < 2)
				  {
					  DC_Stop();
					  Require_Numbers(2);
				  }

				  else if(target == digitDetected[0])
				  {
				      openLoopForward(regularVelocity,toCrossTime);

					  if(!MoveFlag)
					  {
						  openLoopTurning(-1,90);
						  Dir = 'n';
					  }
					  actions[++action_index] = -1;
				  }
				  else if(target == digitDetected[1])
				  {
				      openLoopForward(regularVelocity,toCrossTime);

					  if(!MoveFlag)
					  {
						  openLoopTurning(1,90);
						  Dir = 's';
					  }
					  actions[++action_index] = 1;
				  }
			  }
			  else if(Dir == 'n')
			  {
				  if(toWard)
				  {
					  if(!MoveFlag)
					  {
					    DC_Start(0);
					    Enable_BlockDetected();
					  }
					  if(block_detected)
					  {
						  Pos = 'r';
						  block_detected=0;
					  }
				  }
				  else
				  {
				      openLoopForward(regularVelocity,toCrossTime);

					  if(!MoveFlag)
					  {
						  openLoopTurning(-1,90);
						  Dir = 'w';
					  }
				  }
			  }
			  else if(Dir == 's')
			  {
				  if(toWard)
				  {
					  if(!MoveFlag)
					  {
					    DC_Start(0);
					    Enable_BlockDetected();
					  }
					  if(block_detected)
					  {
						  Pos = 'r';
						  block_detected=0;
					  }
				  }
				  else
				  {
				      openLoopForward(regularVelocity,toCrossTime);

					  if(!MoveFlag)
					  {
						  openLoopTurning(1,90);
						  Dir = 'w';
					  }
				  }
			  }
			  else if(Dir == 'w')
			  {
				  if(!MoveFlag)
				  {
					DC_Start(0);
					Enable_CrossDetected();
				  }
				  if(cross_detected)
				  {
					  Pos = 'C';
					  cross_detected=0;
				  }
			  }
			  break;
		  case 'r':
			  if (actions[action_index] == 1)
			  {
				  if(Dir == 's')
				  {
				     if(MoveFlag)
				    	 openLoopForward(regularVelocity,toBlockTime);
				     if(!MoveFlag && medicine_detected==2)
				     {
				    	 HAL_UART_Transmit(&huart4,(const uint8_t *)"Red Light Off",strlen("Red Light Off"),HAL_MAX_DELAY);//熄灭红灯
				    	 openLoopTurning(1,180);
				    	 medicine_detected=0;//清除药物�????测标�????
				    	 toWard = 0;
				    	 Dir = 'n';
				     }
				  }
				  else if (Dir == 'n')
				  {
					  if(!MoveFlag)
					  {
						  DC_Start(0);
						  Enable_CrossDetected();
					  }
					  if (cross_detected)
					  {
						  Pos = 'E';
						  cross_detected = 0;
					  }
				  }
			  }
			  else if (actions[action_index] == -1)
			  {
				  if(Dir == 'n')
				  {
				     if(MoveFlag)
				    	 openLoopForward(regularVelocity,toBlockTime);
				     if(!MoveFlag && medicine_detected==2)
				     {
				    	 HAL_UART_Transmit(&huart4,(const uint8_t *)"Red Light Off",strlen("Red Light Off"),HAL_MAX_DELAY);//熄灭红灯
				    	 openLoopTurning(1,180);
				    	 medicine_detected=0;//清除药物�????测标�????
				    	 toWard = 0;
				    	 Dir = 's';
				     }
				  }
				  else if (Dir == 's')
				  {
					  if(!MoveFlag)
					  {
						  DC_Start(0);
						  Enable_CrossDetected();
					  }
					  if (cross_detected)
					  {
						  Pos = 'E';
						  cross_detected = 0;
					  }
				  }
			  }
			  break;
			}

	  }

       /*
         if(MoveFlag==1 && Movelock==0)
	   {
		   SetVelocity(0.1,0.1);//起始低�??
		   Movelock=1;
	   }
	   if(MoveFlag==0)
	   {
		   Movelock=0;
	   }
	   */

   /*串口屏命令响�????*/
   	if( Touch_pannel_receive_completed ==1)
   	{
   		switch(Touch_pannel_Uart2_RxBuffer[1])
   		{
   	      //模式切换:单车模式
   		   case 0x01:
//   			  Mode=1;

   			  //发�?�命令给树莓派，准备识别�???????????????????????个数�???????????????????????
   			  HAL_UART_Transmit(&huart4,"Recognize One Number",strlen("Recognize One Number"),HAL_MAX_DELAY);
   			  HAL_UART_Transmit(&huart4,"Green Light Off",strlen("Green Light Off"),HAL_MAX_DELAY);//熄灭上一次任务完成后点亮的绿�???????????????????????
   			  Touch_pannel_Uart2_RxBuffer[1] = 0x0;
   			  break;
   	      //模式切换:双车模式1（拓展题1
   		   case 0x02:
//   			  Mode=2;
   			  Touch_pannel_Uart2_RxBuffer[1] = 0x0;
   			  break;
   	     //模式切换:双车模式2（拓展题2
			   case 0x03:
//				  Mode=3;
				  Touch_pannel_Uart2_RxBuffer[1] = 0x0;
				  break;
		     //车前进
			   case 0x11:
				  DC_Forward(0,1);
				  Touch_pannel_Uart2_RxBuffer[1] = 0x0;

				  break;
			 //车后退
			   case 0x12:
				   DC_Backward(0,1);
				   Touch_pannel_Uart2_RxBuffer[1] = 0x0;
				  break;
			//车停�????????????
			   case 0x13:
				   DC_Stop();
				   Touch_pannel_Uart2_RxBuffer[1] = 0x0;
				  break;
		  //拖动滑钮，调整pid目标速度
			   case 0x14:
				   float TargetSpeed=V_MIN+(V_MAX-V_MIN)*Touch_pannel_Uart2_RxBuffer[2]/100.0;
				   Set_TargetVelocity(TargetSpeed,TargetSpeed);
			       Touch_pannel_Uart2_RxBuffer[1] = 0x0;
			       break;
		   //绘制速度波形
			   case 0x15:
				   Velocity_Plot_Indicate=1;
			       Touch_pannel_Uart2_RxBuffer[1] = 0x0;
			       break;
		   //�????????????出�?�度波形界面
			   case 0x16:
				   Velocity_Plot_Indicate=0;
				   Touch_pannel_Uart2_RxBuffer[1] = 0x0;
				   break;
			//车左�?????
			   case 0x17:
				   openLoopTurning(-1, 90);
				   Touch_pannel_Uart2_RxBuffer[1] = 0x0;
				   break;
			//车右�?????
			   case 0x18:
				   openLoopTurning(1, 90);
				   Touch_pannel_Uart2_RxBuffer[1] = 0x0;
				   break;
			//车掉�?????
			   case 0x19:
				   openLoopTurning(1, 180);
				   Touch_pannel_Uart2_RxBuffer[1] = 0x0;
				   break;
				//�????始执行任务时，向单片机发送识别一个数字的请求
			   case 0x20:
				   PiRxStrBuf[0]='\0';
				   medicine_detected = 0;
				   cross_detected= 0;
				   Require_Numbers(1);
				   break;
				//模拟药物装上
			   case 0x21:
				   medicine_detected=1;
				   Touch_pannel_Uart2_RxBuffer[1] = 0x0;
				   break;
				//模拟药物卸下
			   case 0x22:
				   medicine_detected=2;
				   Touch_pannel_Uart2_RxBuffer[1] = 0x0;
				   break;
   		   default:

   			 break;
   		}
   		Touch_pannel_receive_completed =0;
   	}

	   //与k230通信
   	/*
	   	if(PiRxStrFlag==1)
	   	{
	   		int Num1=0,Num2=0,Num3=0,Num4=0;
	   		uint16_t TempCx=0;
            //识别到一个数�????
			if(sscanf((const char *)&PiRxStrBuf,"detect one number: %d",&Num1)==1)
			{
				target='0'+Num1;//记录当前要去的病房号
			}
			//识别到两个数�????
			else if(sscanf((const char *)&PiRxStrBuf,"detect two numbers: %d %d",&Num1,&Num2)==2)
			{
				digitDetected[0]='0'+Num1;
				digitDetected[1]='0'+Num2;
				digitDetected[2]='\0';
			}
            //识别到四个数�????
			else if(sscanf((const char *)&PiRxStrBuf,"detect four numbers: %d %d %d %d",&Num1,&Num2,&Num3,&Num4)==4)
			{
				digitDetected[0]='0'+Num1;
				digitDetected[1]='0'+Num2;
				digitDetected[2]='0'+Num3;
				digitDetected[3]='0'+Num4;
				digitDetected[4]='\0';
			}
			else if(strcmp(&PiRxStrBuf,"Hello From K230!")==0)//车辆停转
			{
			  HAL_UART_Transmit(&huart4,(const uint8_t *)"Hello From STM32\r\n",strlen("Hello From STM32\r\n"),HAL_MAX_DELAY);
			}
			//识别到交叉路�????
			else if(strcmp(&PiRxStrBuf,"detect cross")==0)//车辆停转
			{
			   cross_detected=1;
			}
			//识别到交叉路�????
			else if(strcmp(&PiRxStrBuf,"detect block")==0)//车辆停转
			{
			   block_detected=1;
			}
			//识别到巡线信�????
			else
			{
				if(sscanf((const char *)&PiRxStrBuf,"cx:%d",&TempCx)==1)
				{
				   Angle_PID_SetCurX(TempCx);
				   Angle_PID_Update();
				}
				else{
					Set_TargetVelocity(regularVelocity,regularVelocity);
				}
			}

			PiRxStrFlag=0;
		}
*/
	if(CCD_UpdateFlag)
	{
	   Angle_PID_SetCurX(TargetIdx);
	   Angle_PID_Update();
	}
	else{
		Set_TargetVelocity(regularVelocity,regularVelocity);
	}

	if(Velocity_Plot_Indicate==1)
   {
	 Velocity_Plot();
   }

    if(MoveFlag==1 && Velocity_PID_UpdateFlag==1)
    {
    	Velocity_PID_UpdateFlag=0;
    	GetVelocity();//更新左右轮转�????????????
       Velocity_PID_Update();//速度PID控制
    }

	 if( TurnStopFlag==1)
	 {
		  TurnCnt=0;
		  DC_Stop();
		  TurnFlag=0;
		  //TurnStopFlag=0;
	 }
    /*
	 if(StraightStopFlag==1)
	 {
		DC_Stop();
		TotalDistance=0;
		DistanceFlag=0;
		//StraightStopFlag=0;
	 }
*/
	 //CCD_Read();//更新CCD数据用于巡线
	 //CCD_DataProcess();//CCD计算黑线中心
	//snprintf(VelocityStr,sizeof(VelocityStr),"%.2f,%.2f\r\n",v_BR,BR_Velocity_PID.TargetVelocity);//串口发�?�，绘制当前左轮速度和目标�?�度波形
	//HAL_UART_Transmit(&hlpuart1,VelocityStr,strlen(VelocityStr),HAL_MAX_DELAY);
  }

  /* USER CODE END 3 */
}

void SystemClock_Config(void)
{
  RCC_OscInitTypeDef RCC_OscInitStruct = {0};
  RCC_ClkInitTypeDef RCC_ClkInitStruct = {0};

  /** Supply configuration update enable
  */
  HAL_PWREx_ConfigSupply(PWR_DIRECT_SMPS_SUPPLY);

  /** Configure the main internal regulator output voltage
  */
  __HAL_PWR_VOLTAGESCALING_CONFIG(PWR_REGULATOR_VOLTAGE_SCALE1);

  while(!__HAL_PWR_GET_FLAG(PWR_FLAG_VOSRDY)) {}

  /** Initializes the RCC Oscillators according to the specified parameters
  * in the RCC_OscInitTypeDef structure.
  */
  RCC_OscInitStruct.OscillatorType = RCC_OSCILLATORTYPE_HSI;
  RCC_OscInitStruct.HSIState = RCC_HSI_DIV1;
  RCC_OscInitStruct.HSICalibrationValue = RCC_HSICALIBRATION_DEFAULT;
  RCC_OscInitStruct.PLL.PLLState = RCC_PLL_ON;
  RCC_OscInitStruct.PLL.PLLSource = RCC_PLLSOURCE_HSI;
  RCC_OscInitStruct.PLL.PLLM = 4;
  RCC_OscInitStruct.PLL.PLLN = 9;
  RCC_OscInitStruct.PLL.PLLP = 2;
  RCC_OscInitStruct.PLL.PLLQ = 1;
  RCC_OscInitStruct.PLL.PLLR = 2;
  RCC_OscInitStruct.PLL.PLLRGE = RCC_PLL1VCIRANGE_3;
  RCC_OscInitStruct.PLL.PLLVCOSEL = RCC_PLL1VCOMEDIUM;
  RCC_OscInitStruct.PLL.PLLFRACN = 3072;
  if (HAL_RCC_OscConfig(&RCC_OscInitStruct) != HAL_OK)
  {
    Error_Handler();
  }

  /** Initializes the CPU, AHB and APB buses clocks
  */
  RCC_ClkInitStruct.ClockType = RCC_CLOCKTYPE_HCLK|RCC_CLOCKTYPE_SYSCLK
                              |RCC_CLOCKTYPE_PCLK1|RCC_CLOCKTYPE_PCLK2
                              |RCC_CLOCKTYPE_D3PCLK1|RCC_CLOCKTYPE_D1PCLK1;
  RCC_ClkInitStruct.SYSCLKSource = RCC_SYSCLKSOURCE_HSI;
  RCC_ClkInitStruct.SYSCLKDivider = RCC_SYSCLK_DIV1;
  RCC_ClkInitStruct.AHBCLKDivider = RCC_HCLK_DIV1;
  RCC_ClkInitStruct.APB3CLKDivider = RCC_APB3_DIV1;
  RCC_ClkInitStruct.APB1CLKDivider = RCC_APB1_DIV1;
  RCC_ClkInitStruct.APB2CLKDivider = RCC_APB2_DIV1;
  RCC_ClkInitStruct.APB4CLKDivider = RCC_APB4_DIV1;

  if (HAL_RCC_ClockConfig(&RCC_ClkInitStruct, FLASH_LATENCY_0) != HAL_OK)
  {
    Error_Handler();
  }
}

/* USER CODE BEGIN 4 */
//1ms定时中断
void HAL_TIM_PeriodElapsedCallback(TIM_HandleTypeDef *htim)
{

  if(htim->Instance == TIM5)
  {

      //速度pid调控周期�?????????????????????????20ms
      if(MoveFlag==1)
      {
    	  Cnt_1ms++;
    	  CCD_Angle_Cnt++;
		  if(Cnt_1ms%T_velocity==0)
		  {
			  //GetVelocity();//更新左右轮转�????????????
              //Velocity_Update();//速度PID控制
			  Velocity_PID_UpdateFlag=1;
			  /*占空�????????????-电机转�?�关系测�????????????
			  v_cnt++;
			  GetVelocity();
			  if(v_cnt>250 && v_cnt<750)
			  {
			    v_BR_Avg=(v_BR_Avg*(v_cnt-251)+v_BR)/(v_cnt-250);
			    v_BL_Avg=(v_BL_Avg*(v_cnt-251)+v_BL)/(v_cnt-250);
			  }
			  */
			  //Location_PID.CurLocation=Totaldistance;
              //Velocity_PID_Control();
		  }
		  if(CCD_Angle_Cnt%CCD_Angle_Period==0)
		  {
			  CCD_Angle_Cnt=0;
		      CCD_Read();//更新CCD数据用于巡线
		      CCD_DataProcess();//CCD计算黑线中心
			  CCD_UpdateFlag=1;

		  }

		  //位置pid调控周期100ms
		  if(Cnt_1ms%T_location==0)
		  {
			  //Location_PID_Control();
			  //Velocity_PID.TargetVelocity=Location_PID.Output;
		  }

		  if(TurnFlag==1)
		  {
			  TurnCnt++;
			  if(TurnCnt>=TurnPeriod)
			      TurnStopFlag=1;
		  }
		  if(WaitFlag)
		  {
			  WaitCnt++;
		  }
      }

  }
}
//串口接收中断
void HAL_UART_RxCpltCallback(UART_HandleTypeDef *huart)
{
	//串口�???????????????????
	if ((huart->Instance == USART2)&&(HAL_UART_Receive_IT(huart, &Touch_pannel_receive, 1) == HAL_OK))
	{
	      if((char)Touch_pannel_receive == 0x5A)
	        {
	          Touch_pannel_data_receive_start = 0x1;
	        }

	      if ((Touch_pannel_receive_len < MAX_LEN)&&(Touch_pannel_data_receive_start == 0x1))
	        {
	          Touch_pannel_Uart2_RxBuffer[Touch_pannel_receive_len] = (char)Touch_pannel_receive;
	          if ((char)Touch_pannel_receive == 0xA5)
	          {
	            Touch_pannel_receive_completed = 1;
	            Touch_pannel_receive_len = 0;
	            Touch_pannel_data_receive_start = 0x0;
	          }
	          else
	          {
	            Touch_pannel_receive_len += 1;
	          }
	        }
	}
	//和stm32通信（与树莓派间接�?�信�???????????????????
	if(huart==&huart4)
	{
		if(PiRxChar=='\r')
		{

		}
		else if(PiRxChar=='\n')
		{
			PiRxStrBuf[PiRxCharIdx++]='\0';
			PiRxCharIdx=0;
			PiRxStrFlag=1;
		}
		else
		{
			PiRxStrBuf[PiRxCharIdx++]=PiRxChar;
		}
		HAL_UART_Receive_IT(&huart4,&PiRxChar,1);//重新使能接收中断
	}
}

void clip(float* val,float min,float max)//限幅函数
{
	if(*val>0)
	{
		*val=(*val>min)?*val:min;
		*val=(*val<max)?*val:max;
	}
	else
	{
		*val=(*val>-max)?*val:-max;
		*val=(*val<-min)?*val:-min;
	}
}

//绘制速度波形
void Velocity_Plot(void)
{
	uint8_t speed[4];
    uint8_t tmp0,tmp1,tmp2,tmp3,tmp4,tmp5,tmp6;
	uint16_t tempSpeed= BL_Velocity_PID.CurVelocity;
	tmp0 = tempSpeed%1000;
	tmp1 = tempSpeed/1000+0x30;  //千位�????????????
	tmp2 = tmp0%100;
	tmp3 = tmp0/100+0x30;  //百位�????????????
	tmp4 = tmp2%10;
	tmp5 = tmp2/10+0x30;  //十位�????????????
	tmp6 = tmp4+0x30;  //个位�????????????

	speed[0] = tmp3;
	speed[1] = tmp5;
	speed[2] = tmp6;

	HAL_UART_Transmit(&huart2,StartSTR,3,10);
	HAL_UART_Transmit(&huart2,HeaderTxBuffer5,sizeof(HeaderTxBuffer5)-1,10);
	HAL_UART_Transmit(&huart2,speed,3,10);
	HAL_UART_Transmit(&huart2,EndSTR,3,10);

}

uint8_t OpenForward()
{
	static int complete = 0; // 返回是否完成�???? 以构成动作链
	static int Flag = 0; // 单次执行

	if (complete) return 1;

	if (LoopStart)
	{
		complete = 0;
		Flag = 0;
		LoopStart = 0;
	}

	if (!Flag && !complete)
	{
		DC_Forward(OpenDis - 5, 0);
		Flag = 1;
	}
	if (StraightStopFlag)
	{
		complete = 1;
		Flag = 0;
		LoopStart = 1;
	}
	return complete;
}

uint8_t OpenTurn(uint8_t dir, uint8_t angle)
{
	static int complete = 0; // 返回是否完成�???? 以构成动作链
	static int Flag = 0; // 单次执行

	if (complete) return 1;

	if (LoopStart)
	{
		complete = 0;
		Flag = 0;
		LoopStart = 0;
	}

	if (!Flag && !complete)
	{
		DC_Turn(dir, angle);
		Flag = 1;
	}
	if (TurnStopFlag)
	{
		complete = 1;
		Flag = 0;
		LoopStart = 1;
	}
	return complete;
}

void openLoopTurning(int8_t clockwise,uint16_t angle)
{
    uint32_t TurnCnt=0;
    uint32_t TurnPeriod=0;
	if(clockwise > 0)//右转
	{
		if(angle == 90)
		{
            DC_Start(1);
			TurnPeriod=2800000;
		}
		if(angle == 180)
		{
			DC_Start(1);
			TurnPeriod=4600000;
		}
	}
	else
	{
		if(angle == 90)
		{
			DC_Start(2);
			TurnPeriod=2800000;
		}
		if(angle == 180)
		{
			DC_Start(2);
			TurnPeriod=4600000;
		}
	}
	while(TurnCnt++<=TurnPeriod)
	{
		//速度pid更新
	    if(MoveFlag==1 && Velocity_PID_UpdateFlag==1)
	    {
	    	Velocity_PID_UpdateFlag=0;
	    	GetVelocity();//更新左右轮转�????????????
	        Velocity_PID_Update();//速度PID控制
	    }
	}
	DC_Stop();
}

void openLoopForward(uint8_t forwardVelocity, uint32_t forwardDistance)
{
	if(MoveFlag==0)
	{
		DC_Start(0);//启动电机
	}
	uint32_t forwardCnt=0;
	TargetDistance=forwardDistance;
	DistanceFlag=1;
	while(!StraightStopFlag)
	{
	    //角度pid更新
	   	if(PiRxStrFlag==1)
	   	{
            uint16_t TempCx=0;
			//识别到巡线信�????
            if(sscanf((const char *)&PiRxStrBuf,"cx:%d",&TempCx)==1)
			{
			   Angle_PID_SetCurX(TempCx);
			   Angle_PID_Update();
			}
			else{
				Set_TargetVelocity(regularVelocity,regularVelocity);
			}
			PiRxStrFlag=0;
		}
		//速度pid更新
	    if(MoveFlag==1 && Velocity_PID_UpdateFlag==1)
	    {
	    	Velocity_PID_UpdateFlag=0;
	    	GetVelocity();//更新左右轮转�????????????
	       Velocity_PID_Update();//速度PID控制
	    }

	}
	TotalDistance=0;
	DistanceFlag=0;
	DC_Stop();
	/*
	BL_SetVelocity(forwardVelocity);
	BR_SetVelocity(forwardVelocity);
	HAL_Delay(forwardTime);
	DC_Stop();
	*/
}

void Enable_CrossDetected(void)
{
	  HAL_UART_Transmit(&huart4,(const uint8_t *)"enable cross detected\r\n",strlen("enable cross detected\r\n"),HAL_MAX_DELAY);//等待交叉路口�????�????
}

void Enable_BlockDetected(void)
{
	  HAL_UART_Transmit(&huart4,(const uint8_t *)"enable block detected\r\n",strlen("enable block detected\r\n"),HAL_MAX_DELAY);//等待交叉路口�????�????
}

void Require_Numbers(uint8_t num)
{
  if(num==1)
	  HAL_UART_Transmit(&huart4,(const uint8_t *)"detect one number\r\n",strlen("detect one number\r\n"),HAL_MAX_DELAY);//识别�????个数�????
  else if(num==2)
	  HAL_UART_Transmit(&huart4,(const uint8_t *)"detect two numbers\r\n",strlen("detect two numbers\r\n"),HAL_MAX_DELAY);//识别两个数字
  else if(num==4)
	  HAL_UART_Transmit(&huart4,(const uint8_t *)"detect four numbers\r\n",strlen("detect four numbers\r\n"),HAL_MAX_DELAY);//识别四个数字
}

void CCD_Read(void)
{
  uint8_t i=0,tslp=0,j=0;
  Linear_CCD_Flush();           // flush previously integrated frame before capturing new frame
  // wait for TSL1401 to integrate new frame, exposure time control by delay
    for(j=0;j<10;j++)
    {
       Dly_us();
    }

  //TSL_SI=1;
  HAL_GPIO_WritePin(GPIOC, GPIO_PIN_5, GPIO_PIN_SET);
  Dly_us();
  //TSL_CLK=1;
  HAL_GPIO_WritePin(GPIOC, GPIO_PIN_3, GPIO_PIN_SET);
  Dly_us();
  //TSL_SI=0;
  HAL_GPIO_WritePin(GPIOC, GPIO_PIN_5, GPIO_PIN_RESET);
  Dly_us();
  //TSL_CLK=0;
  HAL_GPIO_WritePin(GPIOC, GPIO_PIN_3, GPIO_PIN_RESET);
  Dly_us();

  for(i=0;i<128;i++)					//128 DATA/LINE
  {
      /* ADC conversion completed */
      /*##-5- Get the converted value of regular channel  ########################*/
      //uhADCxConvertedValue = HAL_ADC_GetValue(&hadc1);
      //Dly_us();
    ADV[tslp]= (HAL_ADC_GetValue(&hadc1))&(0xffff);
      ++tslp;
    //ADV[tslp]=(((aADCDualConvertedValues[0])&(0xFFF))+((aADCDualConvertedValues[1])&(0xFFF))+((aADCDualConvertedValues[2])&(0xFFF))+((aADCDualConvertedValues[3])&(0xFFF))+((aADCDualConvertedValues[4])&(0xFFF)))/5;

    //TSL_CLK=1;
    HAL_GPIO_WritePin(GPIOC, GPIO_PIN_3, GPIO_PIN_SET);
    Dly_us();
    HAL_GPIO_WritePin(GPIOC, GPIO_PIN_3, GPIO_PIN_RESET);
    Dly_us();
    Dly_us();
  }
    HAL_GPIO_WritePin(GPIOC, GPIO_PIN_3, GPIO_PIN_SET);    //129th pulse to terminate output of 128th pixel
    Dly_us();
    HAL_GPIO_WritePin(GPIOC, GPIO_PIN_3, GPIO_PIN_RESET);
}

// simply generate SI & CLK pulses to flush the previously integrated frame
// while integrating new frame to be read out
void Linear_CCD_Flush(void)
{
    uint8_t index=0;
    //TSL_SI=1;
    HAL_GPIO_WritePin(GPIOC, GPIO_PIN_5, GPIO_PIN_SET);
    Dly_us();
    //TSL_CLK=1;
    HAL_GPIO_WritePin(GPIOC, GPIO_PIN_3, GPIO_PIN_SET);  	// 1st Pulse
    Dly_us();
    //TSL_SI=0;
    HAL_GPIO_WritePin(GPIOC, GPIO_PIN_5, GPIO_PIN_RESET);
    Dly_us();
    //TSL_CLK=0;
    HAL_GPIO_WritePin(GPIOC, GPIO_PIN_3, GPIO_PIN_RESET);
    Dly_us();

    for(index=0; index<128; index++)
    {
          //TSL_CLK=1;
        HAL_GPIO_WritePin(GPIOC, GPIO_PIN_3, GPIO_PIN_SET);
        Dly_us();
        Dly_us();
            //TSL_CLK=0;
        HAL_GPIO_WritePin(GPIOC, GPIO_PIN_3, GPIO_PIN_RESET);
        Dly_us();
        Dly_us();
    }
}

void Dly_us(void)
{
  uint8_t j=0;
  for(j=0;j<64;j++)
    {Dly();}
}

void Dly(void)
{
   uint32_t ii;
   for(ii=0;ii<100;ii++);
}

void CCD_DataProcess(void)
{
   uint8_t j;
   DxMax=0;
   DxMin=0;

   // --- 新增中值滤波处理 ---
   if(median_filter==1)
   {
    // 对每个点计算左、中、右三个值的中位数并保存到 filtered_ADV
    for (int j = 0; j < 128; j++)
    {
        int left_val, current_val, right_val;

        // 处理边界条件
        left_val = (j == 0) ? ADV[j] : ADV[j - 1];  // 左边值（j=0时取当前值）
        current_val = ADV[j];                       // 当前值
        right_val = (j == 127) ? ADV[j] : ADV[j + 1]; // 右边值（j=127时取当前值）

        // 计算三个值的中位数
        int a = left_val;
        int b = current_val;
        int c = right_val;

        // 手动计算最小值和最大值
        int min_val = a;
        if (b < min_val) min_val = b;
        if (c < min_val) min_val = c;

        int max_val = a;
        if (b > max_val) max_val = b;
        if (c > max_val) max_val = c;

        // 中位数 = 总和 - 最小值 - 最大值
        filtered_ADV[j] = a + b + c - min_val - max_val;
    }

    for (j = 0; j < 125; j++)
    {
        dX[j] = filtered_ADV[j] - filtered_ADV[j + 3]; // 使用过滤后的数据，j+3 最大为 127（当 j=124）

        if (DxMin > dX[j])
        {
            DxMin = dX[j];
            MinIdx = j;
        }
        if (DxMax < dX[j])
        {
            DxMax = dX[j];
            MaxIdx = j;
        }
    }
   }
   // --- 中值滤波处理结束 ---
   else{
        for(j=0; j<125; j++)
      {
          dX[j] = ADV[j] - ADV[j+3];
          if (DxMin > dX[j])
         {
            DxMin = dX[j];
            MinIdx = j;
          }
          if (DxMax < dX[j])
         {
            DxMax = dX[j];
            MaxIdx = j;
         }
      }

   }

   if (MaxIdx < MinIdx&&MinIdx-MaxIdx>5)
     TargetIdx = (MaxIdx+MinIdx)>>1;

}

/* USER CODE END 4 */

/* MPU Configuration */

void MPU_Config(void)
{
  MPU_Region_InitTypeDef MPU_InitStruct = {0};

  /* Disables the MPU */
  HAL_MPU_Disable();

  /** Initializes and configures the Region and the memory to be protected
  */
  MPU_InitStruct.Enable = MPU_REGION_ENABLE;
  MPU_InitStruct.Number = MPU_REGION_NUMBER0;
  MPU_InitStruct.BaseAddress = 0x0;
  MPU_InitStruct.Size = MPU_REGION_SIZE_4GB;
  MPU_InitStruct.SubRegionDisable = 0x87;
  MPU_InitStruct.TypeExtField = MPU_TEX_LEVEL0;
  MPU_InitStruct.AccessPermission = MPU_REGION_NO_ACCESS;
  MPU_InitStruct.DisableExec = MPU_INSTRUCTION_ACCESS_DISABLE;
  MPU_InitStruct.IsShareable = MPU_ACCESS_SHAREABLE;
  MPU_InitStruct.IsCacheable = MPU_ACCESS_NOT_CACHEABLE;
  MPU_InitStruct.IsBufferable = MPU_ACCESS_NOT_BUFFERABLE;

  HAL_MPU_ConfigRegion(&MPU_InitStruct);
  /* Enables the MPU */
  HAL_MPU_Enable(MPU_PRIVILEGED_DEFAULT);

}

void Error_Handler(void)
{
  __disable_irq();
  while (1)
  {
  }
}
